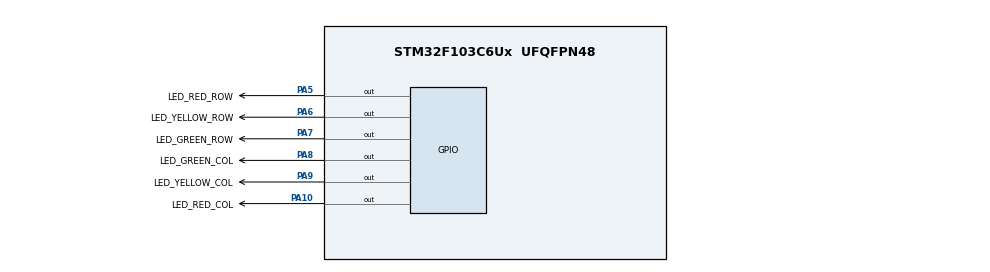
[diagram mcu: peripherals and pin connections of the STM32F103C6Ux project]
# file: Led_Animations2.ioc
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Mcu.Family=STM32F1
Mcu.Name=STM32F103C6Ux
Mcu.Package=UFQFPN48
NVIC.PriorityGroup=NVIC_PRIORITYGROUP_4
PA10.GPIO_Label=LED_RED_COL
PA10.Signal=GPIO_Output
PA5.GPIO_Label=LED_RED_ROW
PA5.Signal=GPIO_Output
PA6.GPIO_Label=LED_YELLOW_ROW
PA6.Signal=GPIO_Output
PA7.GPIO_Label=LED_GREEN_ROW
PA7.Signal=GPIO_Output
PA8.GPIO_Label=LED_GREEN_COL
PA8.Signal=GPIO_Output
PA9.GPIO_Label=LED_YELLOW_COL
PA9.Signal=GPIO_Output
ProjectManager.HeapSize=0x200
ProjectManager.StackSize=0x400
ProjectManager.TargetToolchain=STM32CubeIDE
RCC.APB1Freq_Value=8000000
RCC.APB2Freq_Value=8000000
VP_SYS_VS_ND.Mode=No_Debug
board=custom

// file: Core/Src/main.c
/* USER CODE BEGIN Header */
/**
  ******************************************************************************
  * @file           : main.c
  * @brief          : Main program body
  ******************************************************************************
  * @attention
  *
  * <h2><center>&copy; Copyright (c) 2026 STMicroelectronics.
  * All rights reserved.</center></h2>
  *
  * This software component is licensed by ST under BSD 3-Clause license,
  * the "License"; You may not use this file except in compliance with the
  * License. You may obtain a copy of the License at:
  *                        opensource.org/licenses/BSD-3-Clause
  *
  ******************************************************************************
  */
/* USER CODE END Header */
#include "main.h"

void SystemClock_Config(void);
static void MX_GPIO_Init(void);

int main(void)
{

  /* MCU Configuration--------------------------------------------------------*/

  /* Reset of all peripherals, Initializes the Flash interface and the Systick. */
  HAL_Init();

  /* Configure the system clock */
  SystemClock_Config();

  /* Initialize all configured peripherals */
  MX_GPIO_Init();

  /* Infinite loop */
  /* USER CODE BEGIN WHILE */
  while (1)
  {
	  HAL_GPIO_WritePin ( LED_GREEN_ROW_GPIO_Port , LED_GREEN_ROW_Pin , GPIO_PIN_RESET );
	  HAL_GPIO_WritePin ( LED_YELLOW_ROW_GPIO_Port , LED_YELLOW_ROW_Pin , GPIO_PIN_SET );
	  HAL_GPIO_WritePin ( LED_RED_ROW_GPIO_Port , LED_RED_ROW_Pin , GPIO_PIN_SET );
	  HAL_GPIO_WritePin ( LED_GREEN_COL_GPIO_Port , LED_GREEN_COL_Pin , GPIO_PIN_SET );
	  HAL_GPIO_WritePin ( LED_YELLOW_COL_GPIO_Port , LED_YELLOW_COL_Pin , GPIO_PIN_SET );
	  HAL_GPIO_WritePin ( LED_RED_COL_GPIO_Port , LED_RED_COL_Pin , GPIO_PIN_RESET );
	  HAL_Delay (3000) ;

	  HAL_GPIO_WritePin ( LED_GREEN_ROW_GPIO_Port , LED_GREEN_ROW_Pin , GPIO_PIN_SET );
	  HAL_GPIO_WritePin ( LED_YELLOW_ROW_GPIO_Port , LED_YELLOW_ROW_Pin , GPIO_PIN_RESET );
	  HAL_GPIO_WritePin ( LED_RED_ROW_GPIO_Port , LED_RED_ROW_Pin , GPIO_PIN_SET );
	  HAL_GPIO_WritePin ( LED_GREEN_COL_GPIO_Port , LED_GREEN_COL_Pin , GPIO_PIN_SET );
	  HAL_GPIO_WritePin ( LED_YELLOW_COL_GPIO_Port , LED_YELLOW_COL_Pin , GPIO_PIN_SET );
	  HAL_GPIO_WritePin ( LED_RED_COL_GPIO_Port , LED_RED_COL_Pin , GPIO_PIN_RESET );
	  HAL_Delay (2000) ;

	  HAL_GPIO_WritePin ( LED_GREEN_ROW_GPIO_Port , LED_GREEN_ROW_Pin , GPIO_PIN_SET );
	  HAL_GPIO_WritePin ( LED_YELLOW_ROW_GPIO_Port , LED_YELLOW_ROW_Pin , GPIO_PIN_SET );
	  HAL_GPIO_WritePin ( LED_RED_ROW_GPIO_Port , LED_RED_ROW_Pin , GPIO_PIN_RESET );
	  HAL_GPIO_WritePin ( LED_GREEN_COL_GPIO_Port , LED_GREEN_COL_Pin , GPIO_PIN_RESET );
	  HAL_GPIO_WritePin ( LED_YELLOW_COL_GPIO_Port , LED_YELLOW_COL_Pin , GPIO_PIN_SET );
	  HAL_GPIO_WritePin ( LED_RED_COL_GPIO_Port , LED_RED_COL_Pin , GPIO_PIN_SET );
	  HAL_Delay (3000) ;

	  HAL_GPIO_WritePin ( LED_GREEN_ROW_GPIO_Port , LED_GREEN_ROW_Pin , GPIO_PIN_SET );
	  HAL_GPIO_WritePin ( LED_YELLOW_ROW_GPIO_Port , LED_YELLOW_ROW_Pin , GPIO_PIN_SET );
	  HAL_GPIO_WritePin ( LED_RED_ROW_GPIO_Port , LED_RED_ROW_Pin , GPIO_PIN_RESET );
	  HAL_GPIO_WritePin ( LED_GREEN_COL_GPIO_Port , LED_GREEN_COL_Pin , GPIO_PIN_SET );
	  HAL_GPIO_WritePin ( LED_YELLOW_COL_GPIO_Port , LED_YELLOW_COL_Pin , GPIO_PIN_RESET );
	  HAL_GPIO_WritePin ( LED_RED_COL_GPIO_Port , LED_RED_COL_Pin , GPIO_PIN_SET );
	  HAL_Delay (2000) ;
    /* USER CODE END WHILE */

  }
}

void SystemClock_Config(void)
{
  RCC_OscInitTypeDef RCC_OscInitStruct = {0};
  RCC_ClkInitTypeDef RCC_ClkInitStruct = {0};

  /** Initializes the RCC Oscillators according to the specified parameters
  * in the RCC_OscInitTypeDef structure.
  */
  RCC_OscInitStruct.OscillatorType = RCC_OSCILLATORTYPE_HSI;
  RCC_OscInitStruct.HSIState = RCC_HSI_ON;
  RCC_OscInitStruct.HSICalibrationValue = RCC_HSICALIBRATION_DEFAULT;
  RCC_OscInitStruct.PLL.PLLState = RCC_PLL_NONE;
  if (HAL_RCC_OscConfig(&RCC_OscInitStruct) != HAL_OK)
  {
    Error_Handler();
  }
  /** Initializes the CPU, AHB and APB buses clocks
  */
  RCC_ClkInitStruct.ClockType = RCC_CLOCKTYPE_HCLK|RCC_CLOCKTYPE_SYSCLK
                              |RCC_CLOCKTYPE_PCLK1|RCC_CLOCKTYPE_PCLK2;
  RCC_ClkInitStruct.SYSCLKSource = RCC_SYSCLKSOURCE_HSI;
  RCC_ClkInitStruct.AHBCLKDivider = RCC_SYSCLK_DIV1;
  RCC_ClkInitStruct.APB1CLKDivider = RCC_HCLK_DIV1;
  RCC_ClkInitStruct.APB2CLKDivider = RCC_HCLK_DIV1;

  if (HAL_RCC_ClockConfig(&RCC_ClkInitStruct, FLASH_LATENCY_0) != HAL_OK)
  {
    Error_Handler();
  }
}

static void MX_GPIO_Init(void)
{
  GPIO_InitTypeDef GPIO_InitStruct = {0};

  /* GPIO Ports Clock Enable */
  __HAL_RCC_GPIOA_CLK_ENABLE();

  /*Configure GPIO pin Output Level */
  HAL_GPIO_WritePin(GPIOA, LED_RED_ROW_Pin|LED_YELLOW_ROW_Pin|LED_GREEN_ROW_Pin|LED_GREEN_COL_Pin
                          |LED_YELLOW_COL_Pin|LED_RED_COL_Pin, GPIO_PIN_RESET);

  /*Configure GPIO pins : LED_RED_ROW_Pin LED_YELLOW_ROW_Pin LED_GREEN_ROW_Pin LED_GREEN_COL_Pin
                           LED_YELLOW_COL_Pin LED_RED_COL_Pin */
  GPIO_InitStruct.Pin = LED_RED_ROW_Pin|LED_YELLOW_ROW_Pin|LED_GREEN_ROW_Pin|LED_GREEN_COL_Pin
                          |LED_YELLOW_COL_Pin|LED_RED_COL_Pin;
  GPIO_InitStruct.Mode = GPIO_MODE_OUTPUT_PP;
  GPIO_InitStruct.Pull = GPIO_NOPULL;
  GPIO_InitStruct.Speed = GPIO_SPEED_FREQ_LOW;
  HAL_GPIO_Init(GPIOA, &GPIO_InitStruct);

}

void Error_Handler(void)
{
  __disable_irq();
  while (1)
  {
  }
}

/************************ (C) COPYRIGHT STMicroelectronics *****END OF FILE****/
